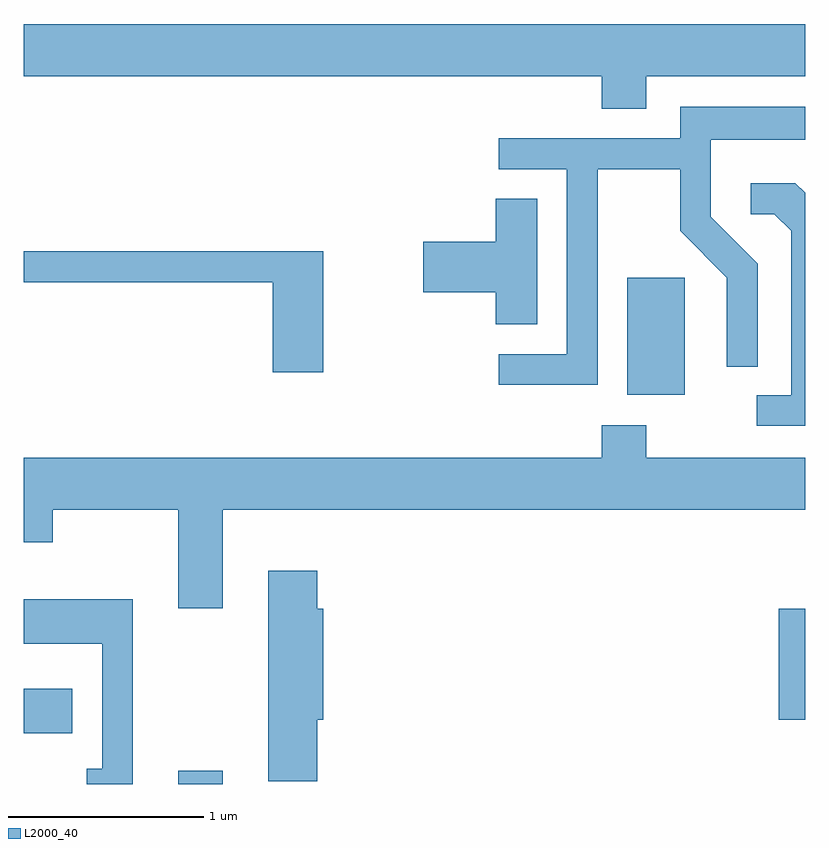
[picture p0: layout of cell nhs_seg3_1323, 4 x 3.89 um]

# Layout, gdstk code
import gdstk
lib = gdstk.Library(unit=1e-6, precision=1e-09)
def R(c, l, rs):  # rectangles x0, y0, x1, y1
    for r in rs: c.add(gdstk.rectangle(r[:2], r[2:], *l))
def P(c, l, *ps):  # polygons
    for p in ps: c.add(gdstk.Polygon(p, *l))
L2000_40 = (2000, 40)

nhs_seg3_1323 = lib.new_cell('nhs_seg3_1323')
R(nhs_seg3_1323, L2000_40, [(224.401,1177.892,224.629,1177.959), (223.611,1178.151,223.859,1178.379), (227.476,1178.221,227.611,1178.789), (226.701,1179.886,226.994,1180.484)])
P(nhs_seg3_1323, L2000_40, [(223.611,1181.516),(226.571,1181.516),(226.571,1181.351),(226.799,1181.351),(226.799,1181.516),(227.611,1181.516),(227.611,1181.784),(223.611,1181.784)],
  [(226.549,1181.041),(226.971,1181.041),(226.971,1180.724),(227.211,1180.484),(227.211,1180.028),(227.369,1180.028),(227.369,1180.557),(227.129,1180.797),(227.129,1181.191),(227.611,1181.191),(227.611,1181.359),(226.971,1181.359),(226.971,1181.199),(226.043,1181.199),(226.043,1181.041),(226.391,1181.041),(226.391,1180.094),(226.043,1180.094),(226.043,1179.936),(226.549,1179.936)],
  [(227.611,1180.92),(227.562,1180.969),(227.333,1180.969),(227.333,1180.811),(227.454,1180.811),(227.541,1180.724),(227.541,1179.884),(227.363,1179.884),(227.363,1179.726),(227.611,1179.726)],
  [(226.239,1180.889),(226.026,1180.889),(226.026,1180.669),(225.656,1180.669),(225.656,1180.411),(226.026,1180.411),(226.026,1180.246),(226.239,1180.246)],
  [(225.144,1180.619),(223.611,1180.619),(223.611,1180.461),(224.886,1180.461),(224.886,1180.001),(225.144,1180.001)],
  [(224.629,1179.296),(227.611,1179.296),(227.611,1179.564),(226.799,1179.564),(226.799,1179.729),(226.571,1179.729),(226.571,1179.564),(223.611,1179.564),(223.611,1179.131),(223.759,1179.131),(223.759,1179.296),(224.401,1179.296),(224.401,1178.791),(224.629,1178.791)],
  [(225.114,1178.221),(225.144,1178.221),(225.144,1178.789),(225.114,1178.789),(225.114,1178.984),(224.861,1178.984),(224.861,1177.906),(225.114,1177.906)],
  [(224.169,1178.839),(223.611,1178.839),(223.611,1178.611),(224.011,1178.611),(224.011,1177.969),(223.933,1177.969),(223.933,1177.892),(224.169,1177.892)])

lib.write_gds('nhs_seg3_1323.gds')
